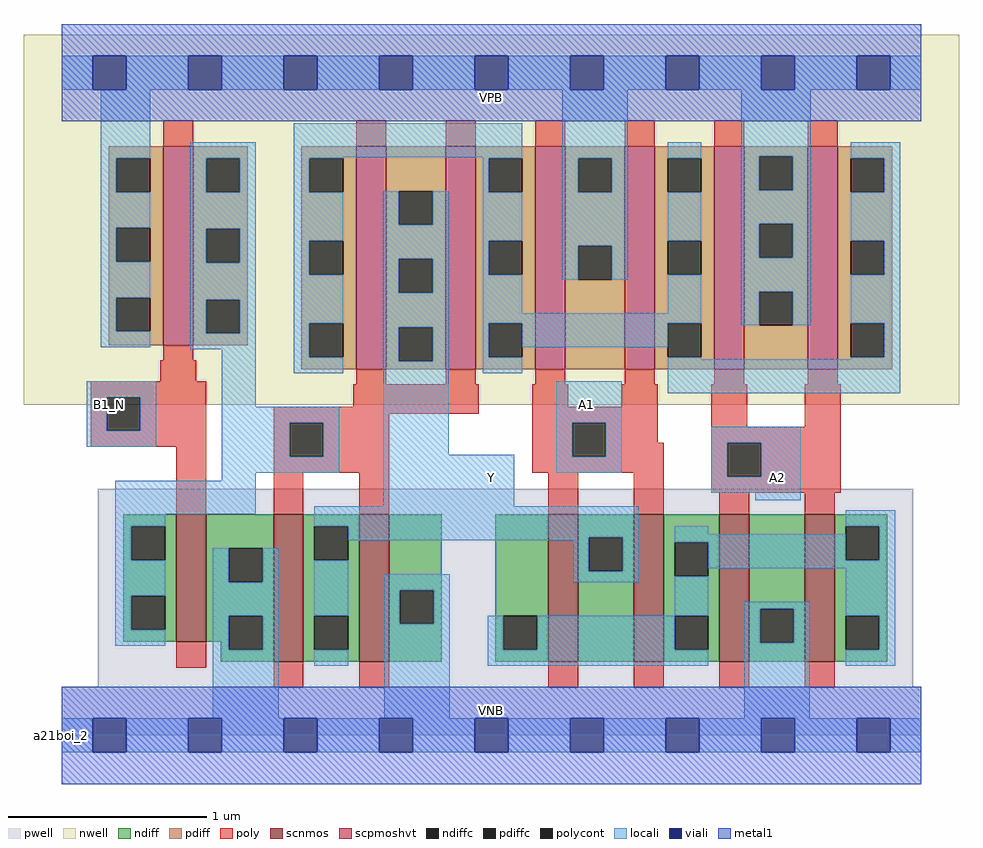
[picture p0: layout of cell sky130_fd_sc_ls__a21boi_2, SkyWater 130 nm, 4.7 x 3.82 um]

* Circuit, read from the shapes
.subckt sky130_fd_sc_ls__a21boi_2 A1 A2 B1_N VGND VNB VPB VPWR Y
XM1 VGND B1_N n1 VNB sky130_fd_pr__nfet_01v8 w=0.64 l=0.15
XM2 Y n1 VGND VNB sky130_fd_pr__nfet_01v8 w=0.74 l=0.15 m=2
XM3 Y A1 n2 VNB sky130_fd_pr__nfet_01v8 w=0.74 l=0.15 m=2
XM4 VGND A2 n2 VNB sky130_fd_pr__nfet_01v8 w=0.74 l=0.15 m=2
XM5 n1 B1_N VPWR VPB sky130_fd_pr__pfet_01v8_hvt w=1 l=0.15
XM6 Y n1 n3 VPB sky130_fd_pr__pfet_01v8_hvt w=1.12 l=0.15 m=2
XM7 VPWR A1 n3 VPB sky130_fd_pr__pfet_01v8_hvt w=1.12 l=0.15 m=2
XM8 VPWR A2 n3 VPB sky130_fd_pr__pfet_01v8_hvt w=1.12 l=0.15 m=2
.ends

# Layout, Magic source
magic
tech sky130A
magscale 1 2
<< nwell >>
rect -38 332 902 704
<< pwell >>
rect 36 49 856 248
rect 0 0 864 49
<< scnmos >>
rect 115 94 145 222
rect 213 74 243 222
rect 299 74 329 222
rect 489 74 519 222
rect 575 74 605 222
rect 661 74 691 222
rect 747 74 777 222
<< scpmoshvt >>
rect 102 392 132 592
rect 296 368 326 592
rect 386 368 416 592
rect 476 368 506 592
rect 566 368 596 592
rect 656 368 686 592
rect 750 368 780 592
<< ndiff >>
rect 62 210 115 222
rect 62 176 70 210
rect 104 176 115 210
rect 62 140 115 176
rect 62 106 70 140
rect 104 106 115 140
rect 62 94 115 106
rect 145 188 213 222
rect 145 154 168 188
rect 202 154 213 188
rect 145 120 213 154
rect 145 94 168 120
rect 160 86 168 94
rect 202 86 213 120
rect 160 74 213 86
rect 243 210 299 222
rect 243 176 254 210
rect 288 176 299 210
rect 243 120 299 176
rect 243 86 254 120
rect 288 86 299 120
rect 243 74 299 86
rect 329 146 382 222
rect 329 112 340 146
rect 374 112 382 146
rect 329 74 382 112
rect 436 120 489 222
rect 436 86 444 120
rect 478 86 489 120
rect 436 74 489 86
rect 519 199 575 222
rect 519 165 530 199
rect 564 165 575 199
rect 519 74 575 165
rect 605 194 661 222
rect 605 160 616 194
rect 650 160 661 194
rect 605 120 661 160
rect 605 86 616 120
rect 650 86 661 120
rect 605 74 661 86
rect 691 127 747 222
rect 691 93 702 127
rect 736 93 747 127
rect 691 74 747 93
rect 777 210 830 222
rect 777 176 788 210
rect 822 176 830 210
rect 777 120 830 176
rect 777 86 788 120
rect 822 86 830 120
rect 777 74 830 86
<< pdiff >>
rect 47 580 102 592
rect 47 546 55 580
rect 89 546 102 580
rect 47 510 102 546
rect 47 476 55 510
rect 89 476 102 510
rect 47 440 102 476
rect 47 406 55 440
rect 89 406 102 440
rect 47 392 102 406
rect 132 580 187 592
rect 132 546 145 580
rect 179 546 187 580
rect 132 509 187 546
rect 132 475 145 509
rect 179 475 187 509
rect 132 438 187 475
rect 132 404 145 438
rect 179 404 187 438
rect 132 392 187 404
rect 241 580 296 592
rect 241 546 249 580
rect 283 546 296 580
rect 241 497 296 546
rect 241 463 249 497
rect 283 463 296 497
rect 241 414 296 463
rect 241 380 249 414
rect 283 380 296 414
rect 241 368 296 380
rect 326 547 386 592
rect 326 513 339 547
rect 373 513 386 547
rect 326 479 386 513
rect 326 445 339 479
rect 373 445 386 479
rect 326 410 386 445
rect 326 376 339 410
rect 373 376 386 410
rect 326 368 386 376
rect 416 580 476 592
rect 416 546 429 580
rect 463 546 476 580
rect 416 497 476 546
rect 416 463 429 497
rect 463 463 476 497
rect 416 414 476 463
rect 416 380 429 414
rect 463 380 476 414
rect 416 368 476 380
rect 506 580 566 592
rect 506 546 519 580
rect 553 546 566 580
rect 506 492 566 546
rect 506 458 519 492
rect 553 458 566 492
rect 506 368 566 458
rect 596 580 656 592
rect 596 546 609 580
rect 643 546 656 580
rect 596 497 656 546
rect 596 463 609 497
rect 643 463 656 497
rect 596 414 656 463
rect 596 380 609 414
rect 643 380 656 414
rect 596 368 656 380
rect 686 582 750 592
rect 686 548 701 582
rect 735 548 750 582
rect 686 514 750 548
rect 686 480 701 514
rect 735 480 750 514
rect 686 446 750 480
rect 686 412 701 446
rect 735 412 750 446
rect 686 368 750 412
rect 780 580 835 592
rect 780 546 793 580
rect 827 546 835 580
rect 780 497 835 546
rect 780 463 793 497
rect 827 463 835 497
rect 780 414 835 463
rect 780 380 793 414
rect 827 380 835 414
rect 780 368 835 380
<< ndiffc >>
rect 70 176 104 210
rect 70 106 104 140
rect 168 154 202 188
rect 168 86 202 120
rect 254 176 288 210
rect 254 86 288 120
rect 340 112 374 146
rect 444 86 478 120
rect 530 165 564 199
rect 616 160 650 194
rect 616 86 650 120
rect 702 93 736 127
rect 788 176 822 210
rect 788 86 822 120
<< pdiffc >>
rect 55 546 89 580
rect 55 476 89 510
rect 55 406 89 440
rect 145 546 179 580
rect 145 475 179 509
rect 145 404 179 438
rect 249 546 283 580
rect 249 463 283 497
rect 249 380 283 414
rect 339 513 373 547
rect 339 445 373 479
rect 339 376 373 410
rect 429 546 463 580
rect 429 463 463 497
rect 429 380 463 414
rect 519 546 553 580
rect 519 458 553 492
rect 609 546 643 580
rect 609 463 643 497
rect 609 380 643 414
rect 701 548 735 582
rect 701 480 735 514
rect 701 412 735 446
rect 793 546 827 580
rect 793 463 827 497
rect 793 380 827 414
<< poly >>
rect 102 592 132 618
rect 296 592 326 618
rect 386 592 416 618
rect 476 592 506 618
rect 566 592 596 618
rect 656 592 686 618
rect 750 592 780 618
rect 102 377 132 392
rect 99 356 135 377
rect 29 340 145 356
rect 296 353 326 368
rect 386 353 416 368
rect 476 353 506 368
rect 566 353 596 368
rect 656 353 686 368
rect 750 353 780 368
rect 29 306 45 340
rect 79 306 145 340
rect 293 330 419 353
rect 29 290 145 306
rect 115 222 145 290
rect 213 323 419 330
rect 473 330 509 353
rect 563 330 599 353
rect 213 314 329 323
rect 213 280 229 314
rect 263 280 329 314
rect 213 264 329 280
rect 473 314 599 330
rect 473 280 513 314
rect 547 294 599 314
rect 653 310 689 353
rect 747 310 783 353
rect 653 294 783 310
rect 547 280 605 294
rect 473 264 605 280
rect 213 222 243 264
rect 299 222 329 264
rect 489 222 519 264
rect 575 222 605 264
rect 653 260 669 294
rect 703 260 783 294
rect 653 244 783 260
rect 661 222 691 244
rect 747 222 777 244
rect 115 68 145 94
rect 213 48 243 74
rect 299 48 329 74
rect 489 48 519 74
rect 575 48 605 74
rect 661 48 691 74
rect 747 48 777 74
<< polycont >>
rect 45 306 79 340
rect 229 280 263 314
rect 513 280 547 314
rect 669 260 703 294
<< locali >>
rect 0 649 31 683
rect 65 649 127 683
rect 161 649 223 683
rect 257 649 319 683
rect 353 649 415 683
rect 449 649 511 683
rect 545 649 607 683
rect 641 649 703 683
rect 737 649 799 683
rect 833 649 864 683
rect 39 580 89 649
rect 39 546 55 580
rect 39 510 89 546
rect 39 476 55 510
rect 39 440 89 476
rect 39 406 55 440
rect 39 390 89 406
rect 129 580 195 596
rect 129 546 145 580
rect 179 546 195 580
rect 129 509 195 546
rect 129 475 145 509
rect 179 475 195 509
rect 129 438 195 475
rect 129 404 145 438
rect 179 404 195 438
rect 129 388 195 404
rect 25 340 95 356
rect 25 306 45 340
rect 79 306 95 340
rect 25 290 95 306
rect 161 330 195 388
rect 233 581 463 615
rect 233 580 283 581
rect 233 546 249 580
rect 423 580 463 581
rect 233 497 283 546
rect 233 463 249 497
rect 233 414 283 463
rect 233 380 249 414
rect 233 364 283 380
rect 323 513 339 547
rect 373 513 389 547
rect 323 479 389 513
rect 323 445 339 479
rect 373 445 389 479
rect 323 410 389 445
rect 323 376 339 410
rect 373 376 389 410
rect 161 314 279 330
rect 161 280 229 314
rect 263 280 279 314
rect 161 264 279 280
rect 323 282 389 376
rect 423 546 429 580
rect 423 497 463 546
rect 423 463 429 497
rect 423 424 463 463
rect 503 580 569 649
rect 503 546 519 580
rect 553 546 569 580
rect 503 492 569 546
rect 503 458 519 492
rect 553 458 569 492
rect 609 580 643 596
rect 609 497 643 546
rect 609 424 643 463
rect 423 414 643 424
rect 423 380 429 414
rect 463 390 609 414
rect 423 364 463 380
rect 683 582 753 649
rect 683 548 701 582
rect 735 548 753 582
rect 683 514 753 548
rect 683 480 701 514
rect 735 480 753 514
rect 683 446 753 480
rect 683 412 701 446
rect 735 412 753 446
rect 793 580 843 596
rect 827 546 843 580
rect 793 497 843 546
rect 827 463 843 497
rect 793 414 843 463
rect 609 378 643 380
rect 827 380 843 414
rect 793 378 843 380
rect 497 314 563 356
rect 609 344 843 378
rect 161 256 195 264
rect 54 222 195 256
rect 323 230 455 282
rect 497 280 513 314
rect 547 280 563 314
rect 497 264 563 280
rect 653 294 743 310
rect 653 260 669 294
rect 703 260 743 294
rect 653 244 743 260
rect 697 236 743 244
rect 54 210 104 222
rect 54 176 70 210
rect 254 210 580 230
rect 788 210 838 226
rect 54 140 104 176
rect 54 106 70 140
rect 54 90 104 106
rect 152 154 168 188
rect 202 154 218 188
rect 152 120 218 154
rect 152 86 168 120
rect 202 86 218 120
rect 152 17 218 86
rect 288 199 580 210
rect 288 196 530 199
rect 254 120 288 176
rect 514 165 530 196
rect 564 165 580 199
rect 254 70 288 86
rect 324 146 390 162
rect 514 154 580 165
rect 616 202 650 210
rect 616 194 788 202
rect 650 176 788 194
rect 822 176 838 210
rect 650 168 838 176
rect 324 112 340 146
rect 374 112 390 146
rect 616 120 650 160
rect 324 17 390 112
rect 428 86 444 120
rect 478 86 616 120
rect 428 70 650 86
rect 686 127 752 134
rect 686 93 702 127
rect 736 93 752 127
rect 686 17 752 93
rect 788 120 838 168
rect 822 86 838 120
rect 788 70 838 86
rect 0 -17 31 17
rect 65 -17 127 17
rect 161 -17 223 17
rect 257 -17 319 17
rect 353 -17 415 17
rect 449 -17 511 17
rect 545 -17 607 17
rect 641 -17 703 17
rect 737 -17 799 17
rect 833 -17 864 17
<< viali >>
rect 31 649 65 683
rect 127 649 161 683
rect 223 649 257 683
rect 319 649 353 683
rect 415 649 449 683
rect 511 649 545 683
rect 607 649 641 683
rect 703 649 737 683
rect 799 649 833 683
rect 31 -17 65 17
rect 127 -17 161 17
rect 223 -17 257 17
rect 319 -17 353 17
rect 415 -17 449 17
rect 511 -17 545 17
rect 607 -17 641 17
rect 703 -17 737 17
rect 799 -17 833 17
<< metal1 >>
rect 0 683 864 715
rect 0 649 31 683
rect 65 649 127 683
rect 161 649 223 683
rect 257 649 319 683
rect 353 649 415 683
rect 449 649 511 683
rect 545 649 607 683
rect 641 649 703 683
rect 737 649 799 683
rect 833 649 864 683
rect 0 617 864 649
rect 0 17 864 49
rect 0 -17 31 17
rect 65 -17 127 17
rect 161 -17 223 17
rect 257 -17 319 17
rect 353 -17 415 17
rect 449 -17 511 17
rect 545 -17 607 17
rect 641 -17 703 17
rect 737 -17 799 17
rect 833 -17 864 17
rect 0 -49 864 -17
<< labels >>
rlabel comment s 0 0 0 0 4 a21boi_2
flabel pwell s 0 0 864 49 0 FreeSans 200 0 0 0 VNB
port 5 nsew ground bidirectional
flabel nwell s 0 617 864 666 0 FreeSans 200 0 0 0 VPB
port 6 nsew power bidirectional
flabel metal1 s 0 617 864 666 0 FreeSans 340 0 0 0 VPWR
port 7 nsew power bidirectional abutment
flabel metal1 s 0 0 864 49 0 FreeSans 340 0 0 0 VGND
port 4 nsew ground bidirectional abutment
flabel locali s 31 316 65 350 0 FreeSans 340 0 0 0 B1_N
port 3 nsew signal input
flabel locali s 415 242 449 276 0 FreeSans 340 0 0 0 Y
port 8 nsew signal output
flabel locali s 703 242 737 276 0 FreeSans 340 0 0 0 A2
port 2 nsew signal input
flabel locali s 511 316 545 350 0 FreeSans 340 0 0 0 A1
port 1 nsew signal input
<< properties >>
string LEFsite unit
string LEFclass CORE
string FIXED_BBOX 0 0 864 666
string GDS_FILE $PDKPATH/libs.ref/sky130_fd_sc_ls/gds/sky130_fd_sc_ls.gds
string LEFsymmetry X Y
string GDS_END 3558870
string GDS_START 3550878
<< end >>
